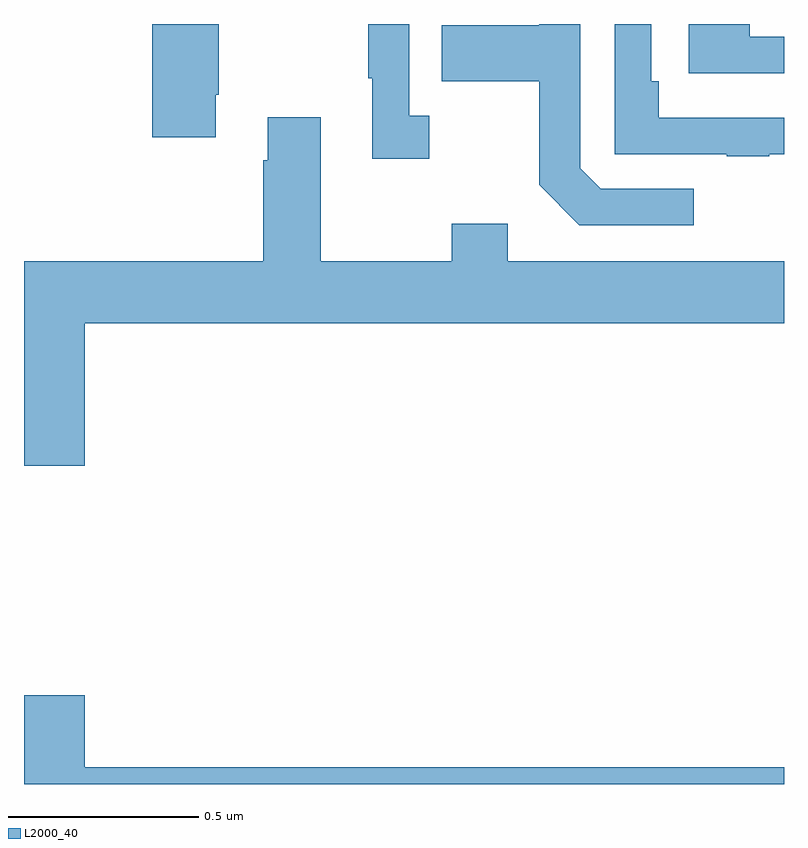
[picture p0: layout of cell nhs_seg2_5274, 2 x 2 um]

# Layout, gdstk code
import gdstk
lib = gdstk.Library(unit=1e-6, precision=1e-09)
def P(c, l, *ps):  # polygons
    for p in ps: c.add(gdstk.Polygon(p, *l))
L2000_40 = (2000, 40)

nhs_seg2_5274 = lib.new_cell('nhs_seg2_5274')
P(nhs_seg2_5274, L2000_40, [(178.961,605.457),(179,605.457),(179,605.553),(178.67,605.553),(178.67,605.65),(178.65,605.65),(178.65,605.8),(178.554,605.8),(178.554,605.457),(178.849,605.457),(178.849,605.452),(178.961,605.452)],
  [(179,605.766),(178.91,605.766),(178.91,605.8),(178.749,605.8),(178.749,605.67),(179,605.67)],
  [(178.762,605.367),(178.518,605.367),(178.464,605.421),(178.464,605.8),(178.356,605.8),(178.356,605.797),(178.099,605.797),(178.099,605.65),(178.356,605.65),(178.356,605.377),(178.461,605.271),(178.762,605.271)],
  [(177.505,605.614),(177.513,605.614),(177.513,605.8),(177.338,605.8),(177.338,605.502),(177.505,605.502)],
  [(178.066,605.558),(178.014,605.558),(178.014,605.8),(177.906,605.8),(177.906,605.657),(177.917,605.657),(177.917,605.445),(178.066,605.445)],
  [(177.16,605.012),(179,605.012),(179,605.176),(178.273,605.176),(178.273,605.275),(178.126,605.275),(178.126,605.176),(177.781,605.176),(177.781,605.554),(177.641,605.554),(177.641,605.441),(177.629,605.441),(177.629,605.176),(177,605.176),(177,604.638),(177.16,604.638)],
  [(179,603.844),(177.16,603.844),(177.16,604.033),(177,604.033),(177,603.8),(179,603.8)])

lib.write_gds('nhs_seg2_5274.gds')
